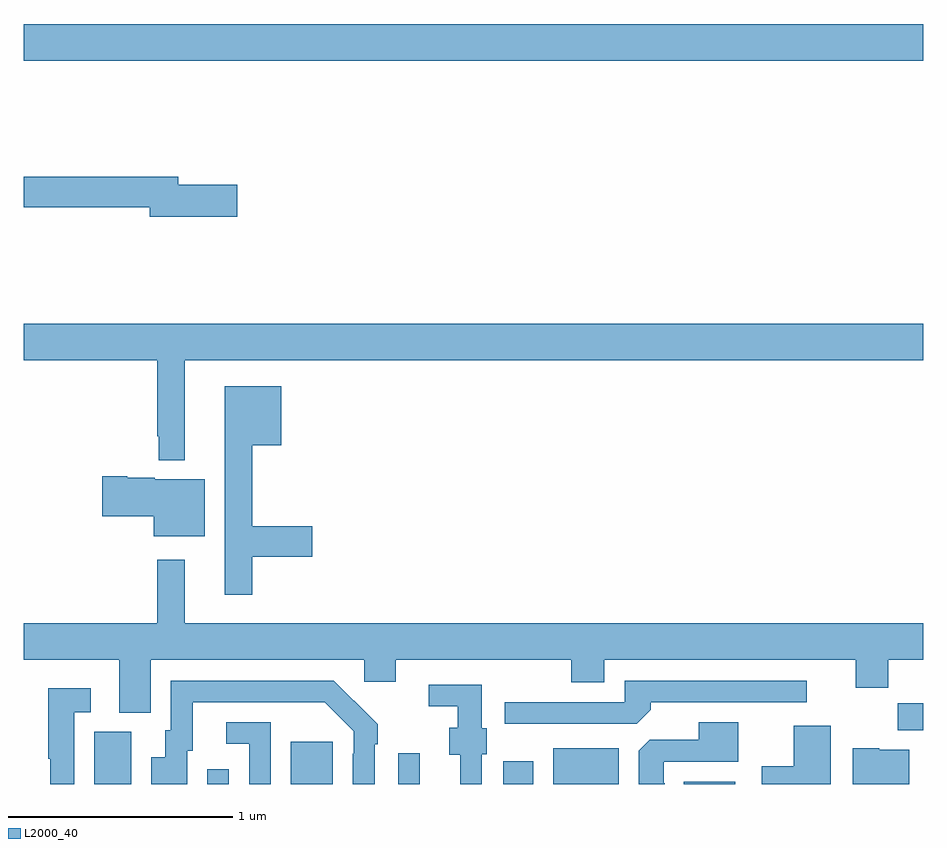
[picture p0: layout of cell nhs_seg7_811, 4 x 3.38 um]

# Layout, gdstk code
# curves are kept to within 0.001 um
import gdstk
lib = gdstk.Library(unit=1e-6, precision=1e-09)
def R(c, l, rs):  # rectangles x0, y0, x1, y1
    for r in rs: c.add(gdstk.rectangle(r[:2], r[2:], *l))
def P(c, l, *ps):  # polygons
    for p in ps: c.add(gdstk.Polygon(p, *l))
L2000_40 = (2000, 40)

nhs_seg7_811 = lib.new_cell('nhs_seg7_811')
R(nhs_seg7_811, L2000_40, [(171.314,1064,171.478,1064.232), (171.816,1064,171.912,1064.065), (172.187,1064,172.375,1064.188), (172.665,1064,172.761,1064.137), (173.132,1064,173.266,1064.101), (173.354,1064,173.647,1064.158), (173.936,1064,174.163,1064.011), (174.886,1064.24,175,1064.359), (171,1067.216,175,1067.38)])
P(nhs_seg7_811, L2000_40, [(171.949,1066.664),(171.688,1066.664),(171.688,1066.7),(171,1066.7),(171,1066.564),(171.56,1066.564),(171.56,1066.522),(171.949,1066.522)],
  [(171.715,1065.884),(175,1065.884),(175,1066.048),(171,1066.048),(171,1065.884),(171.594,1065.884),(171.594,1065.547),(171.601,1065.547),(171.601,1065.44),(171.715,1065.44)],
  [(172.015,1065.01),(172.282,1065.01),(172.282,1065.147),(172.015,1065.147),(172.015,1065.506),(172.144,1065.506),(172.144,1065.769),(171.893,1065.769),(171.893,1064.841),(172.015,1064.841)],
  [(171.805,1065.355),(171.582,1065.355),(171.582,1065.361),(171.46,1065.361),(171.46,1065.368),(171.348,1065.368),(171.348,1065.19),(171.578,1065.19),(171.578,1065.101),(171.805,1065.101)],
  [(171.565,1064.552),(172.515,1064.552),(172.515,1064.454),(172.654,1064.454),(172.654,1064.552),(173.434,1064.552),(173.434,1064.453),(173.581,1064.453),(173.581,1064.552),(174.701,1064.552),(174.701,1064.428),(174.845,1064.428),(174.845,1064.552),(175,1064.552),(175,1064.716),(171.715,1064.716),(171.715,1064.998),(171.594,1064.998),(171.594,1064.716),(171,1064.716),(171,1064.552),(171.425,1064.552),(171.425,1064.317),(171.565,1064.317)],
  [(173.789,1064.33),(173.789,1064.364),(174.481,1064.364),(174.481,1064.46),(173.673,1064.46),(173.673,1064.364),(173.139,1064.364),(173.139,1064.268),(173.727,1064.268)],
  [(171.727,1064.148),(171.751,1064.148),(171.751,1064.364),(172.339,1064.364),(172.467,1064.235),(172.467,1064.135),(172.464,1064.135),(172.464,1064),(172.56,1064),(172.56,1064.177),(172.575,1064.177),(172.575,1064.265),(172.378,1064.46),(171.654,1064.46),(171.654,1064.238),(171.629,1064.238),(171.629,1064.119),(171.566,1064.119),(171.566,1064),(171.727,1064)],
  [(173.037,1064.133),(173.058,1064.133),(173.058,1064.247),(173.037,1064.247),(173.037,1064.442),(172.8,1064.442),(172.8,1064.346),(172.929,1064.346),(172.929,1064.251),(172.892,1064.251),(172.892,1064.129),(172.94,1064.129),(172.94,1064),(173.037,1064)],
  [(171.225,1064.319),(171.298,1064.319),(171.298,1064.425),(171.109,1064.425),(171.109,1064.112),(171.117,1064.112),(171.117,1064),(171.225,1064)],
  [(173.851,1064.003),(173.847,1064.003),(173.847,1064.1),(174.178,1064.1),(174.178,1064.275),(174.002,1064.275),(174.002,1064.196),(173.784,1064.196),(173.735,1064.147),(173.735,1064),(173.851,1064)],
  [(172.098,1064.274),(171.9,1064.274),(171.9,1064.178),(172.002,1064.178),(172.002,1064),(172.098,1064)],
  [(174.589,1064.26),(174.425,1064.26),(174.425,1064.08),(174.282,1064.08),(174.282,1064),(174.589,1064)],
  [(174.937,1064.152),(174.804,1064.152),(174.804,1064.158),(174.686,1064.158),(174.686,1064),(174.937,1064)])

lib.write_gds('nhs_seg7_811.gds')
